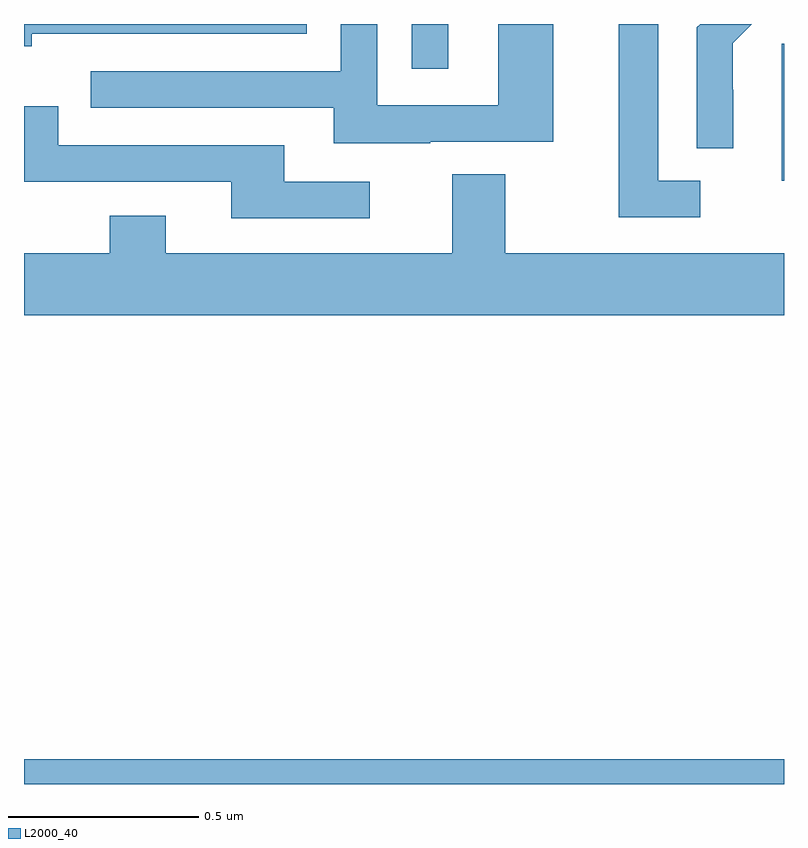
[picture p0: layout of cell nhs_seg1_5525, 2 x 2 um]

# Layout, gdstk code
import gdstk
lib = gdstk.Library(unit=1e-6, precision=1e-09)
def R(c, l, rs):  # rectangles x0, y0, x1, y1
    for r in rs: c.add(gdstk.rectangle(r[:2], r[2:], *l))
def P(c, l, *ps):  # polygons
    for p in ps: c.add(gdstk.Polygon(p, *l))
L2000_40 = (2000, 40)

nhs_seg1_5525 = lib.new_cell('nhs_seg1_5525')
R(nhs_seg1_5525, L2000_40, [(180,517.199,182,517.264), (181.994,518.786,182,519.147), (181.02,519.081,181.117,519.199)])
P(nhs_seg1_5525, L2000_40, [(181.069,518.889),(181.393,518.889),(181.393,519.199),(181.248,519.199),(181.248,518.985),(180.93,518.985),(180.93,519.199),(180.834,519.199),(180.834,519.075),(180.175,519.075),(180.175,518.979),(180.815,518.979),(180.815,518.885),(181.069,518.885)],
  [(180.02,519.174),(180.744,519.174),(180.744,519.199),(180,519.199),(180,519.14),(180.02,519.14)],
  [(181.866,519.026),(181.865,519.026),(181.865,519.149),(181.915,519.199),(181.779,519.199),(181.77,519.19),(181.77,518.872),(181.866,518.872)],
  [(181.78,518.787),(181.669,518.787),(181.669,519.199),(181.565,519.199),(181.565,518.691),(181.78,518.691)],
  [(180.91,518.784),(180.685,518.784),(180.685,518.88),(180.09,518.88),(180.09,518.983),(180,518.983),(180,518.784),(180.545,518.784),(180.545,518.688),(180.91,518.688)],
  [(182,518.596),(181.267,518.596),(181.267,518.804),(181.127,518.804),(181.127,518.596),(180.373,518.596),(180.373,518.695),(180.226,518.695),(180.226,518.596),(180,518.596),(180,518.432),(182,518.432)])

lib.write_gds('nhs_seg1_5525.gds')
